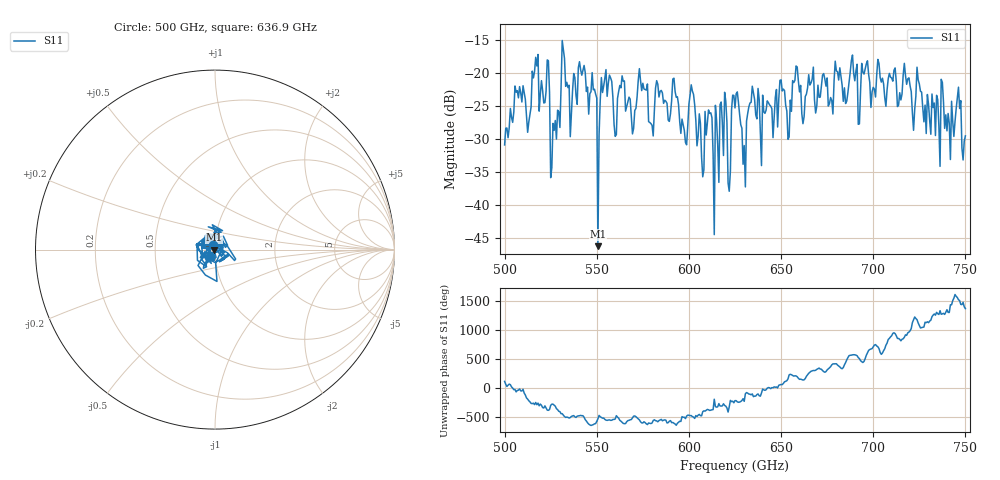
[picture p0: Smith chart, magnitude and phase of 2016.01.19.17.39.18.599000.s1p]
!Created with skrf (http://scikit-rf.org).
# GHz S RI R 50.0
!freq ReS11 ImS11
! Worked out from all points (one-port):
!   401 points, 500 GHz to 750 GHz, reference 50 ohm
!   lowest |S11| = -46.3 dB at 550.6 GHz (marker M1), VSWR 1.01, Z = 49.5 - j0.0346 ohm
!   |S11| at or under -10 dB: start of sweep to end of sweep
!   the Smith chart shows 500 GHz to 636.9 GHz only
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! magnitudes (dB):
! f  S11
! 500 GHz  -30.9
! 506.9 GHz  -22.6
! 513.1 GHz  -27.4
! 516.9 GHz  -17.6
! 523.1 GHz  -18.0
! 526.2 GHz  -27.6
! 531.2 GHz  -15.0
! 548.8 GHz  -22.4
! 550.6 GHz  -46.3
! 553.8 GHz  -21.9
! 560 GHz  -29.6
! 562.5 GHz  -21.9
! 593.8 GHz  -23.6
! 598.1 GHz  -30.5
! 601.9 GHz  -22.7
! 608.1 GHz  -34.7
! 611.2 GHz  -26.1
! 615 GHz  -27.1
! 618.8 GHz  -32.5
! 621.9 GHz  -37.9
! 625 GHz  -25.3
! 629.4 GHz  -33.8
! 634.4 GHz  -22.0
! 656.2 GHz  -21.1
! 687.5 GHz  -19.9
! 718.8 GHz  -20.8
! 746.2 GHz  -22.1
! 750 GHz  -29.5
